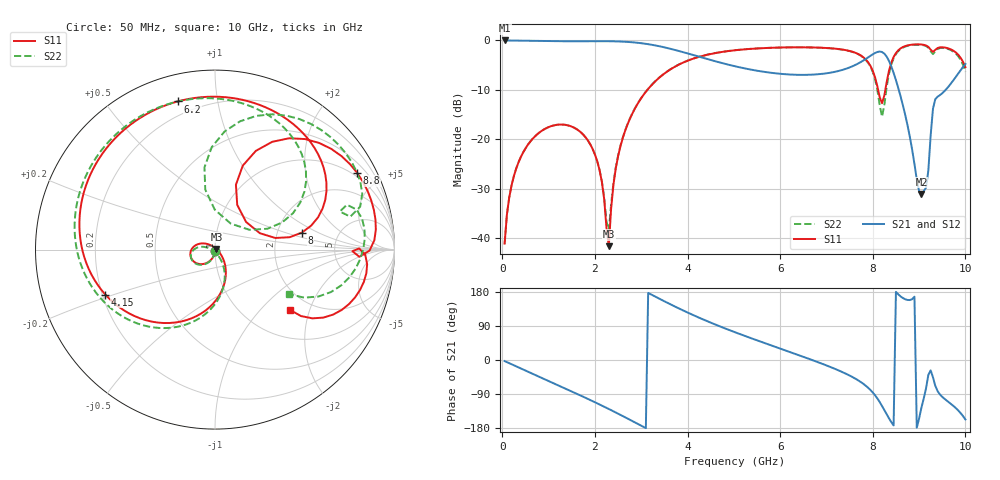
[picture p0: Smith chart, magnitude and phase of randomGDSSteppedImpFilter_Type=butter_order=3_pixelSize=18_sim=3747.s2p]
! freq	dB(S11)	phase(S11)	dB(S12)	phase(S12)
!  dB(S21)	phase(S21)	dB(S22)	phase(S22)
!S-par simulation data
#  GHz  S  DB  R 50
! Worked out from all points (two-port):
!   200 points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, 50 MHz to 10 GHz, reference 50 ohm
!   highest |S21| = -0.01 dB at 50 MHz (marker M1); lowest = -31.1 dB at 9.05 GHz (marker M2)
!   |S21| within 3 dB of the highest: start of sweep to 4.143 GHz; 7.968 GHz to 8.278 GHz (310.3 MHz wide, 3.82 % of centre)
!   lowest |S11| = -41.6 dB at 2.3 GHz (marker M3), VSWR 1.02, Z = 50.8 + j0.32 ohm
!   |S11| at or under -10 dB: start of sweep to 3.133 GHz; 8.116 GHz to 8.271 GHz (154.9 MHz wide, 1.89 % of centre)
!   |S22| runs from -41.1 to -0.9 dB; largest |S21 - S12| = 0
!   S11 on the Smith chart (normalised r, x): 50 MHz: 1.00, -0.02; 4.15 GHz: 0.21, -0.19; 6.2 GHz: 0.13, +0.77; 8 GHz: 2.75, +0.69; 8.8 GHz: 0.84, +3.79; 10 GHz: 1.58, -1.49
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0.05  -41.08 -91.8  -0.01 -2.8  -0.01 -2.8  -41.09 -91.8
0.2  -29.30 -101.4  -0.02 -11.2  -0.02 -11.2  -29.30 -100.7
0.55  -21.13 -122.0  -0.08 -30.6  -0.08 -30.6  -21.13 -120.1
1.75  -19.07 167.7  -0.17 -97.1  -0.17 -97.1  -19.07 177.6
2.1  -26.21 142.0  -0.15 -117.3  -0.15 -117.3  -26.16 165.4
2.3  -41.60 22.3  -0.16 -129.3  -0.16 -129.3  -38.45 -108.5
2.4  -29.18 -36.0  -0.18 -135.4  -0.18 -135.4  -28.80 -62.8
2.6  -19.78 -56.8  -0.24 -147.8  -0.24 -147.8  -19.69 -63.2
3.4  -7.44 -112.1  -1.19 161.2  -1.19 161.2  -7.42 -107.8
4.15  -3.60 -157.7  -3.02 117.0  -3.02 117.0  -3.59 -149.7
5.05  -1.96 156.1  -5.28 72.1  -5.28 72.1  -1.95 167.8
6.2  -1.40 104.1  -6.89 21.5  -6.89 21.5  -1.40 119.9
6.7  -1.42 81.9  -6.91 -0.4  -6.91 -0.4  -1.43 98.9
7.55  -2.26 39.9  -5.27 -44.2  -5.27 -44.2  -2.29 57.4
8  -6.14 11.1  -2.81 -85.7  -2.81 -85.7  -6.38 25.0
8.2  -12.70 41.6  -2.34 -121.3  -2.34 -121.3  -15.43 58.8
8.35  -6.15 71.7  -4.14 -153.9  -4.14 -153.9  -6.71 97.3
8.8  -0.91 28.3  -19.46 158.2  -19.46 158.2  -1.00 48.3
9.05  -0.82 10.6  -31.05 -126.1  -31.05 -126.1  -0.91 28.9
9.15  -1.02 3.4  -29.76 -74.9  -29.76 -74.9  -1.14 20.8
9.35  -1.90 0.5  -11.88 -68.1  -11.88 -68.1  -2.20 18.8
10  -5.41 -38.8  -4.77 -156.9  -4.77 -156.9  -6.34 -31.0
